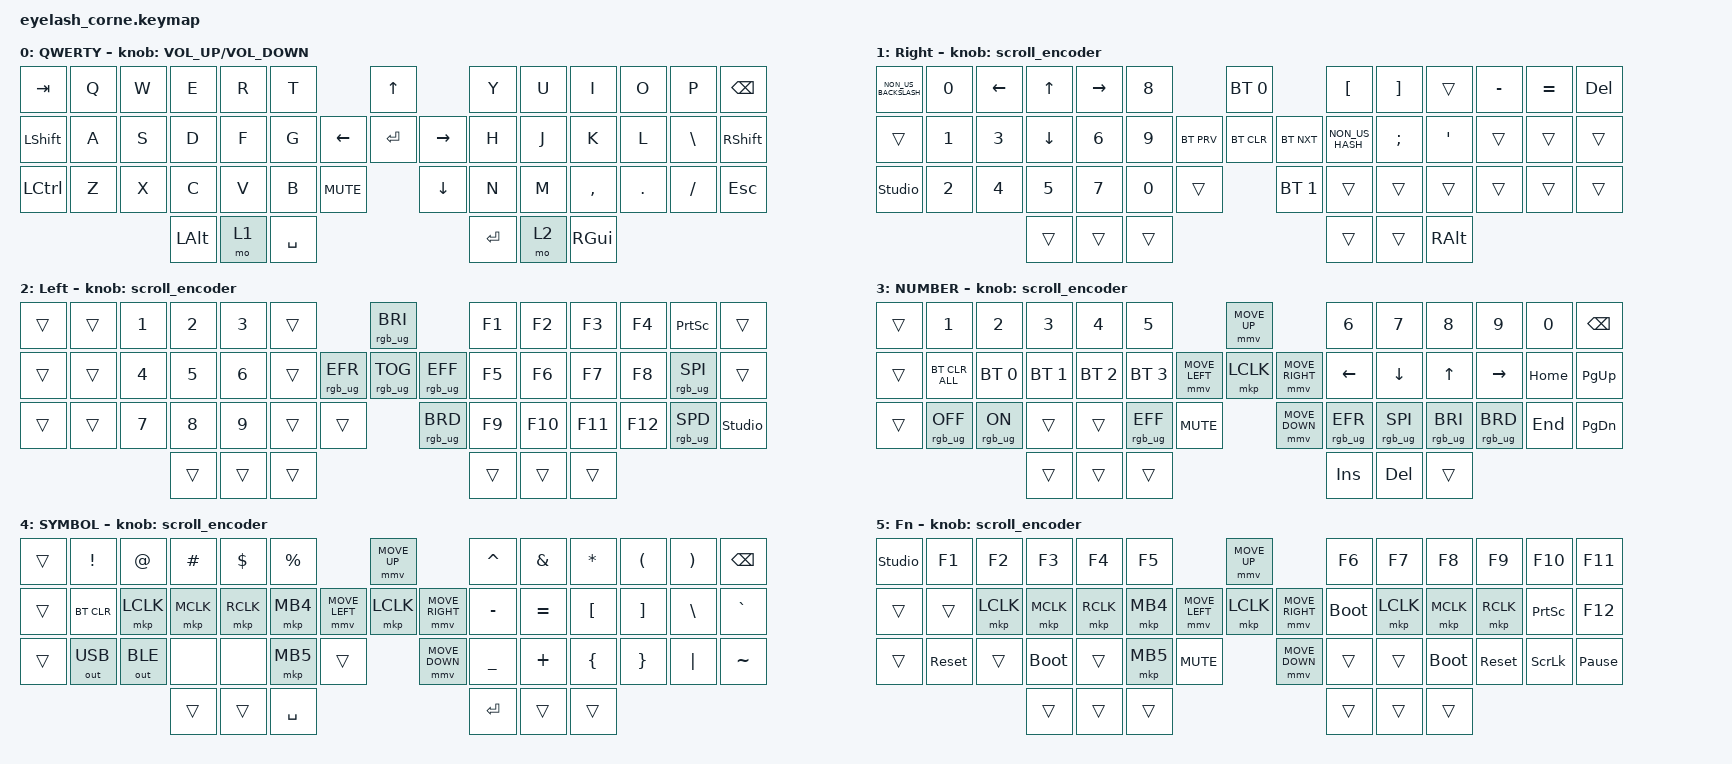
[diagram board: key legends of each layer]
#define ZMK_POINTING_DEFAULT_MOVE_VAL 1200  // 600
#define ZMK_POINTING_DEFAULT_SCRL_VAL 25   // 10

#include <input/processors.dtsi>
#include <zephyr/dt-bindings/input/input-event-codes.h>
#include <behaviors.dtsi>
#include <dt-bindings/zmk/bt.h>
#include <dt-bindings/zmk/keys.h>
#include <dt-bindings/zmk/outputs.h>
#include <dt-bindings/zmk/pointing.h>
#include <dt-bindings/zmk/rgb.h>

&mmv_input_listener { input-processors = <&zip_xy_scaler 2 1>; };

&msc_input_listener { input-processors = <&zip_scroll_scaler 2 1>; };

&msc {
    acceleration-exponent = <1>;      // 0
    time-to-max-speed-ms = <100>;       // 300
    delay-ms = <0>;                   // 0
};

&mmv {
    time-to-max-speed-ms = <500>;
    acceleration-exponent = <1>;
    trigger-period-ms = <16>;
};

/ {
    behaviors {
        td0: td0 {
            compatible = "zmk,behavior-tap-dance";
            display-name = "Shift/Caps Lock Tap Dance";
            #binding-cells = <0>;
            bindings = <&kp LEFT_SHIFT>, <&kp CAPS>;
        };
    };

    rgb_encoder: rgb_encoder {
        compatible = "zmk,behavior-sensor-rotate";
        #sensor-binding-cells = <0>;
        bindings = <&rgb_ug RGB_BRI>, <&rgb_ug RGB_BRD>;
    };

    scroll_encoder: scroll_encoder {
        compatible = "zmk,behavior-sensor-rotate";
        #sensor-binding-cells = <0>;
        bindings = <&msc SCRL_DOWN>, <&msc SCRL_UP>;

        tap-ms = <100>;
    };

    macros {
        new_macro: new_macro {
            compatible = "zmk,behavior-macro";
            #binding-cells = <0>;
            bindings = <&none>;
            label = "NEW_MACRO";
        };
    };

    keymap {
        compatible = "zmk,keymap";

        default_layer {
            display-name = "QWERTY";
            bindings = <
&kp TAB         &kp Q  &kp W  &kp E         &kp R  &kp T                              &kp UP                &kp Y      &kp U  &kp I          &kp O    &kp P          &kp BSPC
&kp LEFT_SHIFT  &kp A  &kp S  &kp D         &kp F  &kp G                    &kp LEFT  &kp ENTER  &kp RIGHT  &kp H      &kp J  &kp K          &kp L    &kp BACKSLASH  &kp RIGHT_SHIFT
&kp LCTRL       &kp Z  &kp X  &kp C         &kp V  &kp B      &kp C_MUTE              &kp DOWN              &kp N      &kp M  &kp COMMA      &kp DOT  &kp FSLH       &kp ESC
                              &kp LEFT_ALT  &mo 1  &kp SPACE                                                &kp ENTER  &mo 2  &kp RIGHT_GUI
            >;

            sensor-bindings = <&inc_dec_kp C_VOLUME_UP C_VOLUME_DOWN>;
        };

        Right {
            bindings = <
&kp NON_US_BACKSLASH  &kp NUMBER_0  &kp LEFT      &kp UP_ARROW  &kp RIGHT     &kp N8                        &bt BT_SEL 0              &kp LBKT         &kp RBKT  &trans         &kp MINUS  &kp EQUAL  &kp DEL
&trans                &kp NUMBER_1  &kp NUMBER_3  &kp DOWN      &kp NUMBER_6  &kp N9            &bt BT_PRV  &bt BT_CLR    &bt BT_NXT  &kp NON_US_HASH  &kp SEMI  &kp APOS       &trans     &trans     &trans
&studio_unlock        &kp NUMBER_2  &kp NUMBER_4  &kp N5        &kp N7        &kp N0  &trans                &bt BT_SEL 1              &trans           &trans    &trans         &trans     &trans     &trans
                                                  &trans        &trans        &trans                                                  &trans           &trans    &kp RIGHT_ALT
            >;

            sensor-bindings = <&scroll_encoder>;
        };

        Left {
            bindings = <
&trans  &trans  &kp N1  &kp N2  &kp N3  &trans                             &rgb_ug RGB_BRI                   &kp F1  &kp F2   &kp F3   &kp F4   &kp PRINTSCREEN  &trans
&trans  &trans  &kp N4  &kp N5  &kp N6  &trans            &rgb_ug RGB_EFR  &rgb_ug RGB_TOG  &rgb_ug RGB_EFF  &kp F5  &kp F6   &kp F7   &kp F8   &rgb_ug RGB_SPI  &trans
&trans  &trans  &kp N7  &kp N8  &kp N9  &trans  &trans                     &rgb_ug RGB_BRD                   &kp F9  &kp F10  &kp F11  &kp F12  &rgb_ug RGB_SPD  &studio_unlock
                        &trans  &trans  &trans                                                               &trans  &trans   &trans
            >;

            sensor-bindings = <&scroll_encoder>;
        };

        lower_layer {
            display-name = "NUMBER";
            bindings = <
&trans  &kp N1           &kp N2          &kp N3        &kp N4        &kp N5                                         &mmv MOVE_UP                     &kp N6           &kp N7           &kp N8           &kp N9           &kp N0    &kp BSPC
&trans  &bt BT_CLR_ALL   &bt BT_SEL 0    &bt BT_SEL 1  &bt BT_SEL 2  &bt BT_SEL 3                   &mmv MOVE_LEFT  &mkp LCLK       &mmv MOVE_RIGHT  &kp LEFT         &kp DOWN         &kp UP           &kp RIGHT        &kp HOME  &kp PG_UP
&trans  &rgb_ug RGB_OFF  &rgb_ug RGB_ON  &trans        &trans        &rgb_ug RGB_EFF  &kp C_MUTE                    &mmv MOVE_DOWN                   &rgb_ug RGB_EFR  &rgb_ug RGB_SPI  &rgb_ug RGB_BRI  &rgb_ug RGB_BRD  &kp END   &kp PG_DN
                                         &trans        &trans        &trans                                                                          &kp INS          &kp DEL          &trans
            >;

            sensor-bindings = <&scroll_encoder>;
        };

        raise_layer {
            display-name = "SYMBOL";
            bindings = <
&trans  &kp EXCL      &kp AT        &kp HASH   &kp DLLR   &kp PRCNT                            &mmv MOVE_UP                     &kp CARET  &kp AMPS   &kp ASTRK  &kp LPAR  &kp RPAR  &kp BSPC
&trans  &bt BT_CLR    &mkp LCLK     &mkp MCLK  &mkp RCLK  &mkp MB4             &mmv MOVE_LEFT  &mkp LCLK       &mmv MOVE_RIGHT  &kp MINUS  &kp EQUAL  &kp LBKT   &kp RBKT  &kp BSLH  &kp GRAVE
&trans  &out OUT_USB  &out OUT_BLE  &none      &none      &mkp MB5   &trans                    &mmv MOVE_DOWN                   &kp UNDER  &kp PLUS   &kp LBRC   &kp RBRC  &kp PIPE  &kp TILDE
                                    &trans     &trans     &kp SPACE                                                             &kp RET    &trans     &trans
            >;

            sensor-bindings = <&scroll_encoder>;
        };

        layer_3 {
            display-name = "Fn";
            bindings = <
&studio_unlock  &kp F1      &kp F2     &kp F3       &kp F4     &kp F5                                  &mmv MOVE_UP                     &kp F6       &kp F7     &kp F8       &kp F9      &kp F10          &kp F11
&trans          &trans      &mkp LCLK  &mkp MCLK    &mkp RCLK  &mkp MB4                &mmv MOVE_LEFT  &mkp LCLK       &mmv MOVE_RIGHT  &bootloader  &mkp LCLK  &mkp MCLK    &mkp RCLK   &kp PRINTSCREEN  &kp F12
&trans          &sys_reset  &trans     &bootloader  &trans     &mkp MB5  &kp C_MUTE                    &mmv MOVE_DOWN                   &trans       &trans     &bootloader  &sys_reset  &kp SCROLLLOCK   &kp PAUSE_BREAK
                                       &trans       &trans     &trans                                                                   &trans       &trans     &trans
            >;

            sensor-bindings = <&scroll_encoder>;
        };
    };
};
